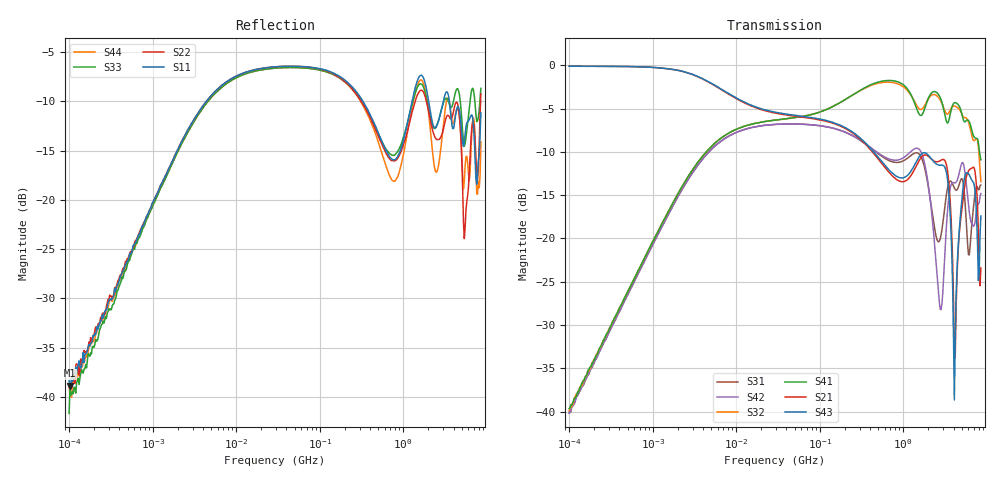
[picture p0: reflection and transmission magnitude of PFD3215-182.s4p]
# MHz S MA R 50
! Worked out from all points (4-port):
!   498 points, 100 kHz to 8.5 GHz, reference 50 ohm
!   strongest paths, dB at 100 kHz, 1.698 MHz, 29.49 MHz, 500.7 MHz, 8.5 GHz:
!     S43: -0.1, -0.5, -5.4, -10.6, -17.4
!     S21: -0.1, -0.5, -5.5, -10.8, -23.4
!     S41: -39.7, -16.1, -6.3, -1.9, -10.9
!     S32: -39.9, -16.1, -6.3, -2.1, -13.4
!     S42: -40.2, -16.5, -6.8, -10.1, -14.8
!     S31: -40.1, -16.4, -6.8, -10.2, -13.8
!   lowest |S11| = -38.8 dB at 102.3 kHz (marker M1), VSWR 1.02, Z = 50.5 + j1.02 ohm
!   |S11| at or under -10 dB: 329.5 MHz to 1.274 GHz (944.5 MHz wide, 118 % of centre); 2.014 GHz to 3.022 GHz (1.007 GHz wide, 40 % of centre); 3.564 GHz to end of sweep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
0.1  0.0121 61.3  0.9898 -0.6  0.009919 -92.4  0.0104 87.9
     0.9898 -0.6  0.01129 69.4  0.01014 87.9  0.009763 -93.9
     0.009919 -92.4  0.01014 87.9  0.008267 53.8  0.9895 -0.6
     0.0104 87.9  0.009763 -93.9  0.9895 -0.6  0.01147 70.2
0.1023101  0.01143 61.7  0.9897 -0.6  0.01 -92.7  0.01047 88.6
           0.9897 -0.6  0.0114 72.5  0.01038 88.0  0.009882 -93.9
           0.01 -92.7  0.01038 88.0  0.01116 56.6  0.9889 -0.6
           0.01047 88.6  0.009882 -93.9  0.9889 -0.6  0.01015 63.4
9.413502  0.4192 25.2  0.6537 -20.6  0.4046 -155.4  0.4212 28.1
          0.6537 -20.6  0.4193 25.0  0.4216 28.1  0.4039 -155.5
          0.4046 -155.4  0.4216 28.1  0.4109 25.6  0.6595 -20.3
          0.4212 28.1  0.4039 -155.5  0.6595 -20.3  0.4111 25.4
339.572  0.3092 -76.2  0.3576 -101.5  0.356 77.9  0.7391 -31.9
         0.3576 -101.5  0.2998 -79.9  0.7346 -32.7  0.3581 73.9
         0.356 77.9  0.7346 -32.7  0.3026 -75.6  0.3628 -100.8
         0.7391 -31.9  0.3581 73.9  0.3628 -100.8  0.2944 -81.4
1165.528  0.2652 -139.1  0.2225 71.5  0.2946 -99.7  0.7128 -165.8
          0.2225 71.5  0.2388 -147.2  0.7001 -163.9  0.3096 -101.6
          0.2946 -99.7  0.7001 -163.9  0.2628 -143.6  0.2356 73.0
          0.7128 -165.8  0.3096 -101.6  0.2356 73.0  0.2395 -134.9
2592.178  0.2447 35.9  0.2775 91.4  0.09626 -103.0  0.6876 14.2
          0.2775 91.4  0.2026 30.7  0.6602 14.0  0.05361 -70.3
          0.09626 -103.0  0.6602 14.0  0.2469 42.4  0.2667 87.0
          0.6876 14.2  0.05361 -70.3  0.2667 87.0  0.1435 43.9
8500  0.2766 -16.4  0.06759 28.9  0.2038 21.6  0.2847 -49.6
      0.06759 28.9  0.3456 -2.6  0.2126 -67.4  0.1818 5.9
      0.2038 21.6  0.2126 -67.4  0.3684 -30.3  0.1348 55.6
      0.2847 -49.6  0.1818 5.9  0.1348 55.6  0.1974 -3.3
